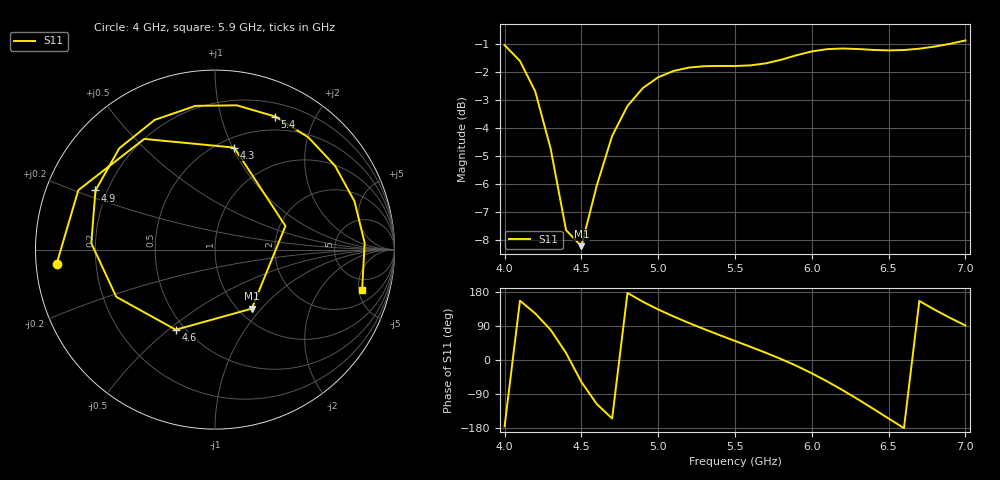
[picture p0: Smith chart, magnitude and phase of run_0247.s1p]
! Touchstone file exported from HFSS 2024.2.0
!  File:  C:/Users/wsak9/Desktop/Sim Fast/Widenad Patch/WP_AI_V1_sweep.aedt
!  Generated:  01:22:15 AM Oct 14, 2026
!  Design:  A1_model
!  Project:  WP_AI_V1_sweep
!  Setup:  Setup1
!  Solution:  Sweep
! Variables:
!  Air_gap = 2.63mm
!  Curve_Amp1 = 2.04
!  Curve_len1 = 1
!  Curve_pos = 12.96mm
!  Extra = 5.68mm
!  H_sub = 0.79mm
!  L_Patch = 21.92mm
!  L_Patch1 = 17.26mm
!  Sx = 2.95mm
!  Sy = 4.17mm
!  WS = 1.33mm
!  W_Patch = 12.08mm
!  W_Patch1 = 11.58mm
!Data is not renormalized
# GHz S MA
! Terminal data exported
! Port[1] = 1
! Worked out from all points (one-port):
!   31 points, 4 GHz to 7 GHz, reference per port
!   lowest |S11| = -8.2 dB at 4.5 GHz (marker M1), VSWR 2.26
!   |S11| at or under -10 dB: nowhere
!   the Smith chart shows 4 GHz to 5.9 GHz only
!   S11 on the Smith chart (normalised r, x): 4 GHz: 0.06, -0.05; 4.3 GHz: 0.59, +1.01; 4.6 GHz: 0.45, -0.53; 4.9 GHz: 0.16, +0.23; 5.4 GHz: 0.34, +1.50; 5.9 GHz: 3.31, -5.41
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4  0.8864 -174.8
4.1  0.8305 156.5
4.2  0.7319 122.6
4.3  0.5783 79.3
4.4  0.4139 18.5
4.5  0.3874 -58.1
4.6  0.4973 -116.1
4.7  0.6099 -154.4
4.8  0.6902 177.0
4.9  0.743 153.7
5  0.7766 133.3
5.1  0.7971 114.9
5.2  0.8082 97.7
5.4  0.8136 65.6
5.5  0.8135 50.3
5.7  0.8224 19.2
5.9  0.8503 -15.4
6  0.8638 -35.1
6.1  0.872 -56.5
6.2  0.8742 -79.4
6.3  0.8724 -103.6
6.4  0.8692 -128.8
6.5  0.8674 -154.4
6.6  0.8688 -179.7
6.7  0.8736 155.9
6.8  0.8813 132.7
6.9  0.8912 111.1
7  0.9037 91.1
